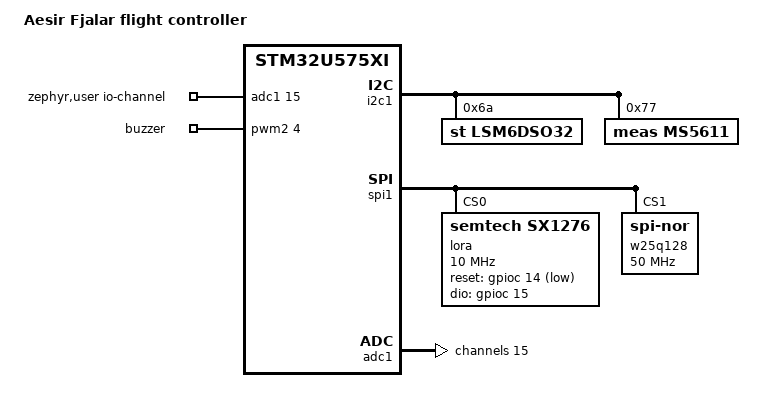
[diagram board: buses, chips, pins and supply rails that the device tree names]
/dts-v1/;

#include <st/u5/stm32u575Xi.dtsi>
#include <st/u5/stm32u575zitxq-pinctrl.dtsi>
#include "fjalar.dtsi"

/ {

    model = "Aesir Fjalar flight controller";
	compatible = "aesir,fjalar";

	#address-cells = <1>;
	#size-cells = <1>;

	chosen {
		zephyr,console = &uart4;
		zephyr,shell-uart = &uart4;
		zephyr,sram = &sram0;
		zephyr,flash = &flash0;
		zephyr,canbus = &fdcan1;
	};

    aliases {
		led0 = &ioled;
		external-uart = &uart4;
		data-flash = &w25q128;
		gps-uart = &usart1;
		buzzer = &buzzer;
		lora = &lora;

	};

	zephyr,user {
		battery-denominator = <2200>;
		battery-numerator = <12200>;
		io-channels = <&adc1 15>;
	};

	pwmleds: pwmleds {
		compatible = "pwm-leds";
		status = "okay";

		buzzer: buzzer {
			pwms = <&pwm2 4 PWM_MSEC(20) PWM_POLARITY_NORMAL>;
		};
	};
};

&i2c1 {
	lsm6dso32: lsm6dso32@6a {
		status = "okay";
		compatible = "st,lsm6dso32", "st,lsm6dso";
		reg = <0x6a>;
	};

	ms5611: ms5611@77 {
		status = "okay";
		compatible = "meas,ms5611";
		reg = <0x77>;
	};
};

&spi1 {
	lora: lora@0 {
		compatible ="semtech,sx1276";
		reg = <0>;
		spi-max-frequency = <10000000>;
		status = "okay";
		reset-gpios = <&gpioc 14 GPIO_ACTIVE_LOW>;
		dio-gpios = <&gpioc 15 GPIO_ACTIVE_HIGH>;
		power-amplifier-output = "pa-boost";
	};

	w25q128: w25q128@1 {
		compatible ="jedec,spi-nor";
		size = <0x8000000>;
		reg = <1>;
		spi-max-frequency = <50000000>;
		status = "okay";
		jedec-id = [ef 70 18];
	};
};

&adc1 {
	#address-cells = <1>;
	#size-cells = <0>;
	status = "okay";
	st,adc-prescaler = <1>;

	channel@F {
		reg = <15>; //15
		zephyr,gain = "ADC_GAIN_1";
		zephyr,reference = "ADC_REF_INTERNAL";
		zephyr,acquisition-time = <ADC_ACQ_TIME_DEFAULT>;
		zephyr,resolution = <14>;
		zephyr,oversampling = <4>;
		status = "okay";
	};
};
